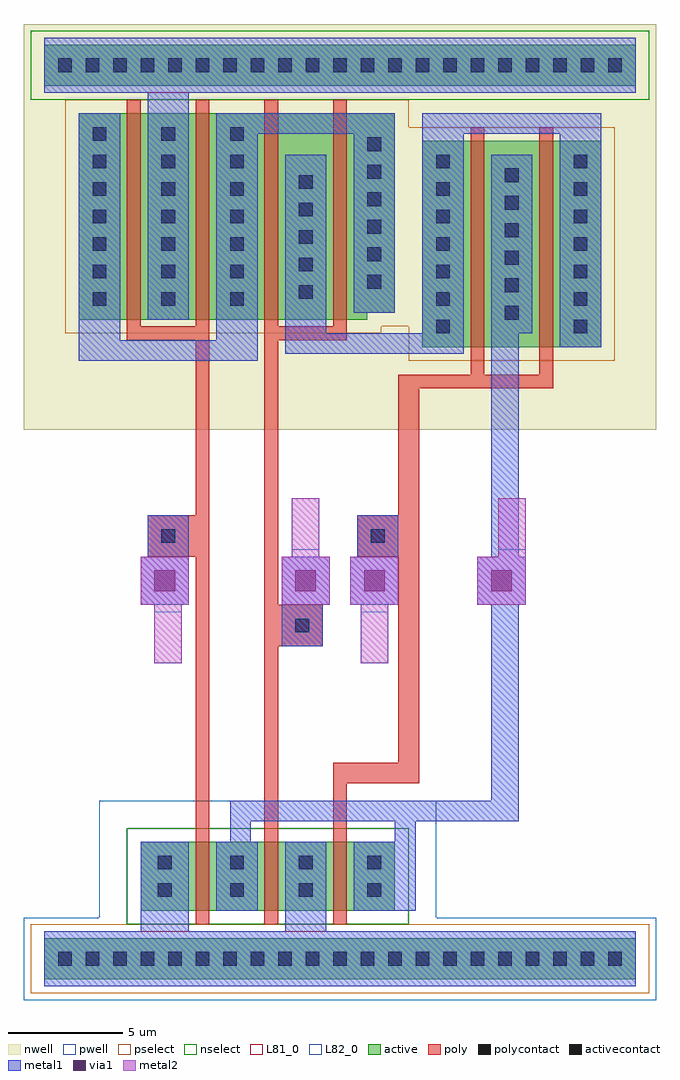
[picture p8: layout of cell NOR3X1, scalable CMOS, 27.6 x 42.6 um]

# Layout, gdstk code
import gdstk
lib = gdstk.Library(unit=1e-6, precision=1e-09)
def R(c, l, rs):  # rectangles x0, y0, x1, y1
    for r in rs: c.add(gdstk.rectangle(r[:2], r[2:], *l))
def A(c, l, x, y, w, h, nx, ny, dx, dy):  # array of equal rectangles
    R(c, l, [(x+i*dx, y+j*dy, x+i*dx+w, y+j*dy+h) for i in range(nx) for j in range(ny)])
pwell = (41, 0)
nwell = (42, 0)
active = (43, 0)
pselect = (44, 0)
nselect = (45, 0)
poly = (46, 0)
polycontact = (47, 0)
activecontact = (48, 0)
metal1 = (49, 0)
via1 = (50, 0)
metal2 = (51, 0)
L81_0 = (81, 0)
L82_0 = (82, 0)

nor3x1 = lib.new_cell('NOR3X1')
R(nor3x1, pwell, [(-1.8,-1.8,25.8,1.8), (1.5,1.8,16.2,6.9)])
R(nor3x1, nwell, [(-1.8,23.1,25.8,40.8)])
R(nor3x1, active, [(-0.9,-0.9,24.9,0.9), (3.3,2.1,14.4,5.1), (15.6,26.7,23.4,35.7), (0.6,27.9,13.2,28.2), (0.6,28.2,14.4,36.9), (-0.9,38.1,24.9,39.9)])
R(nor3x1, pselect, [(-1.5,-1.5,25.5,1.5), (15,26.1,24,27.6), (0,27.3,13.8,27.6), (0,27.6,24,36.3), (0,36.3,15,37.5)])
R(nor3x1, nselect, [(2.7,1.5,15,5.7), (-1.5,37.5,25.5,40.5)])
A(nor3x1, poly, 2.7, 27.6, 0.6, 9.9, 4, 1, 3, 0)
R(nor3x1, poly, [(5.7,1.5,6.3,17.55), (8.7,1.5,9.3,13.65), (11.7,1.5,12.3,7.65), (11.7,7.65,15.45,8.55), (14.55,8.55,15.45,17.55), (8.7,13.65,11.25,15.45), (8.7,15.45,9.3,27), (3.6,17.55,6.3,19.35), (12.75,17.55,15.45,19.35), (5.7,19.35,6.3,27), (14.55,19.35,15.45,24.9), (14.55,24.9,21.3,25.5), (17.7,25.5,18.3,36.3), (20.7,25.5,21.3,36.3), (2.7,27,6.3,27.6), (8.7,27,12.3,27.6)])
R(nor3x1, polycontact, [(10.05,14.25,10.65,14.85), (4.2,18.15,4.8,18.75), (13.35,18.15,13.95,18.75)])
A(nor3x1, activecontact, -0.3, -0.3, 0.6, 0.6, 21, 2, 1.2, 39)
A(nor3x1, activecontact, 7.2, 2.7, 0.6, 0.6, 3, 2, 3, 1.2)
A(nor3x1, activecontact, 16.2, 27.3, 0.6, 0.6, 1, 7, 0, 1.2)
A(nor3x1, activecontact, 22.2, 27.3, 0.6, 0.6, 1, 7, 0, 1.2)
A(nor3x1, activecontact, 19.2, 27.9, 0.6, 0.6, 1, 6, 0, 1.2)
A(nor3x1, activecontact, 1.2, 28.5, 0.6, 0.6, 3, 7, 3, 1.2)
A(nor3x1, activecontact, 10.2, 28.8, 0.6, 0.6, 1, 5, 0, 1.2)
A(nor3x1, activecontact, 13.2, 29.25, 0.6, 0.6, 1, 6, 0, 1.2)
R(nor3x1, activecontact, [(4.05,2.7,4.65,3.3), (4.05,3.9,4.65,4.5)])
R(nor3x1, metal1, [(-0.9,-1.2,24.9,1.2), (3.3,1.2,5.4,5.1), (9.6,1.2,11.4,5.1), (6.6,2.1,8.4,5.1), (12.6,2.1,15.3,5.1), (7.2,5.1,8.1,6), (14.4,5.1,15.3,6), (7.2,6,19.8,6.9), (18.6,6.9,19.8,15.45), (9.45,13.65,11.25,15.45), (3.3,15.45,5.4,17.55), (9.45,15.45,11.55,17.55), (12.45,15.45,14.55,17.55), (18,15.45,20.1,17.55), (3.6,17.55,5.4,19.35), (12.75,17.55,14.55,19.35), (18.6,17.55,19.8,27.3), (0.6,26.1,8.4,27), (9.6,26.4,17.4,27.3), (21.6,26.7,23.4,36), (0.6,27,2.4,36.9), (6.6,27,8.4,36), (9.6,27.3,11.4,35.1), (15.6,27.3,17.4,36), (18.6,27.3,20.4,35.1), (3.6,27.9,5.4,37.8), (12.6,28.2,14.4,36), (6.6,36,14.4,36.9), (15.6,36,23.4,36.9), (-0.9,37.8,24.9,40.2)])
R(nor3x1, via1, [(3.9,16.05,4.8,16.95), (10.05,16.05,10.95,16.95), (13.05,16.05,13.95,16.95), (18.6,16.05,19.5,16.95)])
R(nor3x1, metal2, [(3.9,12.9,5.1,15.45), (12.9,12.9,14.1,15.45), (3.3,15.45,5.4,17.55), (9.45,15.45,11.55,17.55), (12.45,15.45,14.55,17.55), (18,15.45,20.1,17.55), (9.9,17.55,11.1,20.1), (18.9,17.55,20.1,20.1)])
R(nor3x1, L81_0, [(-0.9,-1.2,24.9,1.2), (-0.9,37.8,24.9,40.2)])
R(nor3x1, L82_0, [(3.9,12.9,5.1,15.15), (12.9,12.9,14.1,15.15), (9.9,17.85,11.1,20.1), (18.9,17.85,20.1,20.1)])

lib.write_gds('NOR3X1.gds')
